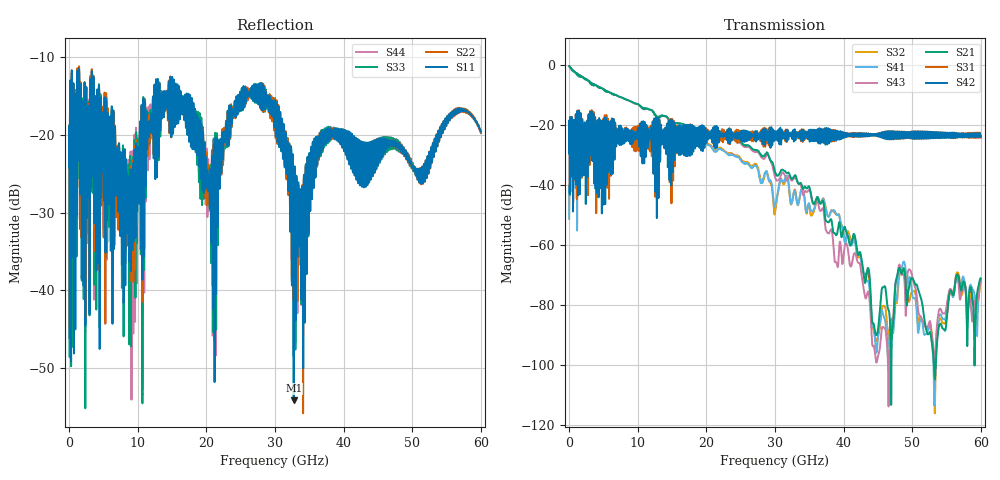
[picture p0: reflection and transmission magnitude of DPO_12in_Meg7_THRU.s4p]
! Tyco Electronics Strada Whisper System
! THRU_G1112
!! SYSTEM DESCRIPTION: Daughtercard-Footprint-Connector-Footprint-Daughtercard
!! PCB DESCRIPTION: DC: 140mil, Megtron7N, upper layer route, 15mil stub, 6-6-6mil 12" traces
!! CONNECTOR DESCRIPTION: Next-Gen STRADA Whisper Direct-Plug Orthogonal Connector
!! MODEL DESCRIPTION: Tyco Electronics System 4-port S-parameter
!! MODEL STATUS: Developmental
!! MODEL GEOMETRY: Channel Model
!! MODEL FREQUENCY RANGE: DC to 60 GHz in 10 MHz frequency steps
!! MODEL EDGE RATE LIMITATION: 8.3 ps (Using conservative 0.5/Fmax rule of thumb)
!! TIME-DOMAIN TRANSFORM CAUTIONS:
!! 1.) Do not simulate transient edge rates faster than the number listed above.  Edge rates faster than this number
!!  contain significant spectral content at frequencies above the model's highest frequency.
!! 2.) Even when simulating edge rates that are slower than the number listed above, be aware that the best time
!!  resolution possible with a direct iFFT is (1 / 2Fmax).  As a result, time resolution is typically not adequate
!!  for most time-domain simulations unless tricks such as windowing are used to minimize leakage and aliasing.
!! 3.) Because the model has a uniform frequency step, a direct iFFT will result in an impulse that that has a time
!!  length given by either (1 / Fstep) or (1 / 2Fstep), depending on the transform being used.  Care has been taken
!!  in selecting the frequency step to ensure a settled impulse response for the model.  Therefore, convolution with
!!  the model's impulse response should present no issues.  However, if directly concatenating s-parameter models
!!  in the frequency domain a user must either interpolate necessary interim frequencies or complete impulse response
!!  zero-padding.  Impulse response zero-padding is more difficult, but more accurate.
!! PORT DEFINITIONS:
!! Port  1  ----->  TX Side  G11  RX Side  <-----  Port  2
!! Port  3  ----->  TX Side  G12  RX Side  <-----  Port  4
! Touchstone data
! Created: 10-Dec-2018 by IdEM R2012 (8.0.5)
# Hz S MA R 50
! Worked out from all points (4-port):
!   6000 points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, 10 MHz to 60 GHz, reference 50 ohm
!   strongest paths, dB at 10 MHz, 15.01 GHz, 30.01 GHz, 45.01 GHz, 60 GHz:
!     S42: -29.5, -18.5, -22.3, -23.1, -23.9
!     S31: -29.5, -18.6, -22.4, -23.1, -23.9
!     S21: -0.5, -19.9, -35.7, -88.2, -71.3
!     S43: -0.5, -19.7, -37.5, -97.0, -72.2
!     S41: -51.2, -26.1, -46.9, -90.7, -71.8
!     S32: -51.2, -26.2, -49.1, -90.6, -72.7
!   lowest |S11| = -54.1 dB at 32.73 GHz (marker M1), VSWR 1.00, Z = 50.2 + j0.105 ohm
!   |S11| at or under -10 dB: start of sweep to end of sweep
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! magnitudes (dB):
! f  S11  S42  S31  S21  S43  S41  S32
! 10 MHz  -24.2  -29.5  -29.5  -0.5  -0.5  -51.2  -51.2
! 6.8 GHz  -26.2  -23.5  -26.5  -10.1  -10.1  -21.6  -21.5
! 27.45 GHz  -13.6  -24.4  -23.4  -28.6  -29.1  -34.6  -33.9
! 32.73 GHz  -54.1  -25.0  -24.0  -37.3  -37.9  -42.7  -42.6
! 39.2 GHz  -19.6  -24.1  -23.5  -54.3  -66.9  -49.9  -49.8
! 44.3 GHz  -22.7  -23.1  -23.2  -86.0  -93.6  -87.2  -88.0
! 60 GHz  -19.6  -23.9  -23.9  -71.3  -72.2  -71.8  -72.7
